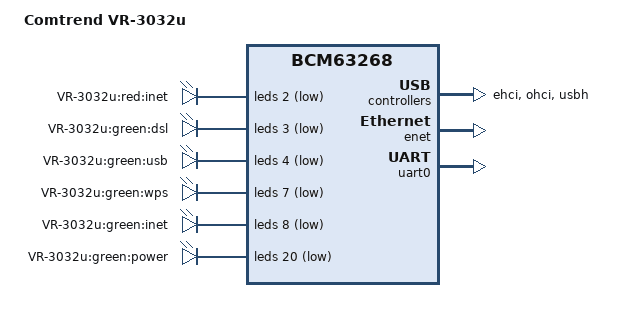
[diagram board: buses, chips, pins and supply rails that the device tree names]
// SPDX-License-Identifier: GPL-2.0+
/*
 * Copyright (C) 2017 Álvaro Fernández Rojas <noltari@gmail.com>
 */

/dts-v1/;

#include "brcm,bcm63268.dtsi"

/ {
	model = "Comtrend VR-3032u";
	compatible = "comtrend,vr-3032u", "brcm,bcm63268";

	aliases {
		serial0 = &uart0;
	};

	chosen {
		stdout-path = "serial0:115200n8";
	};
};

&ehci {
	status = "okay";
};

&enet {
	status = "okay";

	port@0 {
		compatible = "brcm,enetsw-port";
		reg = <0>;
		label = "fe2";
		brcm,phy-id = <1>;
	};

	port@1 {
		compatible = "brcm,enetsw-port";
		reg = <1>;
		label = "fe3";
		brcm,phy-id = <2>;
	};

	port@2 {
		compatible = "brcm,enetsw-port";
		reg = <2>;
		label = "fe4";
		brcm,phy-id = <3>;
	};

	port@3 {
		compatible = "brcm,enetsw-port";
		reg = <3>;
		label = "fe1";
		brcm,phy-id = <4>;
	};
};

&leds {
	status = "okay";
	brcm,serial-leds;
	brcm,serial-dat-low;
	brcm,serial-shift-inv;

	led@2 {
		reg = <2>;
		active-low;
		label = "VR-3032u:red:inet";
	};

	led@3 {
		reg = <3>;
		active-low;
		label = "VR-3032u:green:dsl";
	};

	led@4 {
		reg = <4>;
		active-low;
		label = "VR-3032u:green:usb";
	};

	led@7 {
		reg = <7>;
		active-low;
		label = "VR-3032u:green:wps";
	};

	led@8 {
		reg = <8>;
		active-low;
		label = "VR-3032u:green:inet";
	};

	led@20 {
		reg = <20>;
		active-low;
		label = "VR-3032u:green:power";
	};
};

&ohci {
	status = "okay";
};

&uart0 {
	u-boot,dm-pre-reloc;
	status = "okay";
};

&usbh {
	status = "okay";
};
